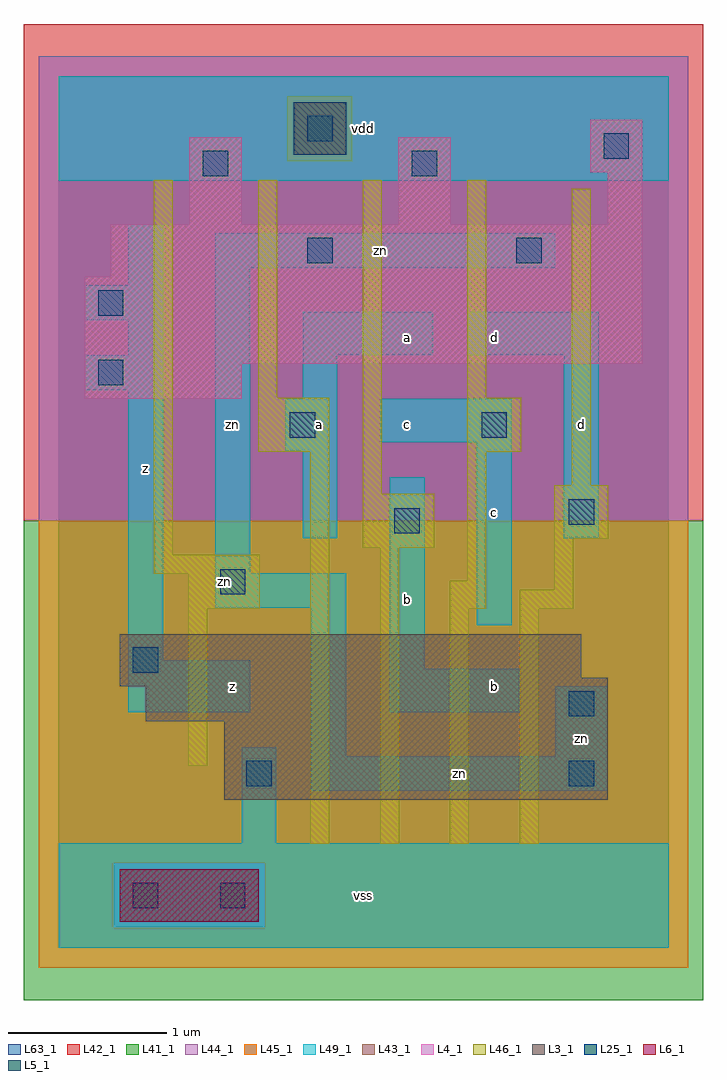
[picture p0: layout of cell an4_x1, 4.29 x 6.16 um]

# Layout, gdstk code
import gdstk
lib = gdstk.Library(unit=1e-6, precision=1e-09)
def R(c, l, rs):  # rectangles x0, y0, x1, y1
    for r in rs: c.add(gdstk.rectangle(r[:2], r[2:], *l))
L3_1 = (3, 1)
L4_1 = (4, 1)
L5_1 = (5, 1)
L6_1 = (6, 1)
L25_1 = (25, 1)
L41_1 = (41, 1)
L42_1 = (42, 1)
L43_1 = (43, 1)
L44_1 = (44, 1)
L45_1 = (45, 1)
L46_1 = (46, 1)
L49_1 = (49, 1)
L63_1 = (63, 1)

an4_x1 = lib.new_cell('an4_x1')
R(an4_x1, L3_1, [(1.045,0.935,3.465,1.43), (0.55,1.43,3.465,1.65), (0.385,1.65,3.465,1.705), (0.385,1.705,3.3,1.98)])
R(an4_x1, L4_1, [(0.165,3.465,1.155,3.685), (0.165,3.685,3.685,4.235), (0.33,4.235,3.685,4.565), (0.825,4.565,1.155,5.115), (2.145,4.565,2.475,5.115), (3.465,4.565,3.685,4.895), (3.355,4.895,3.685,5.225)])
R(an4_x1, L5_1, [(1.485,5.005,1.815,5.335)])
R(an4_x1, L6_1, [(0.385,0.165,1.265,0.495)])
R(an4_x1, L25_1, [(0.47,0.25,0.63,0.41), (1.02,0.25,1.18,0.41), (1.185,1.02,1.345,1.18), (3.22,1.02,3.38,1.18), (3.22,1.46,3.38,1.62), (0.47,1.735,0.63,1.895), (1.02,2.23,1.18,2.39), (2.12,2.615,2.28,2.775), (3.22,2.67,3.38,2.83), (1.46,3.22,1.62,3.38), (2.67,3.22,2.83,3.38), (0.25,3.55,0.41,3.71), (0.25,3.99,0.41,4.15), (1.57,4.32,1.73,4.48), (2.89,4.32,3.05,4.48), (0.91,4.87,1.07,5.03), (2.23,4.87,2.39,5.03), (3.44,4.98,3.6,5.14), (1.57,5.09,1.73,5.25)])
R(an4_x1, L41_1, [(-0.22,-0.33,4.07,2.695)])
R(an4_x1, L42_1, [(-0.22,2.695,4.07,5.83)])
R(an4_x1, L43_1, [(0.385,0.165,1.265,0.495), (1.045,0.935,3.465,1.43), (0.55,1.43,3.465,1.65), (0.385,1.65,3.465,1.705), (0.385,1.705,3.3,1.98), (0.165,3.465,1.155,3.685), (0.165,3.685,3.685,4.235), (0.33,4.235,3.685,4.565), (0.825,4.565,1.155,5.115), (2.145,4.565,2.475,5.115), (3.465,4.565,3.685,4.895), (3.355,4.895,3.685,5.225), (1.485,5.005,1.815,5.335)])
R(an4_x1, L44_1, [(0.345,0.125,1.305,0.535), (-0.125,2.695,3.975,4.965), (-0.125,4.965,1.445,5.375), (1.855,4.965,3.975,5.375), (-0.125,5.375,3.975,5.625)])
R(an4_x1, L45_1, [(-0.125,-0.125,3.975,0.125), (-0.125,0.125,0.345,0.535), (1.305,0.125,3.975,0.535), (-0.125,0.535,3.975,2.695), (1.445,4.965,1.855,5.375)])
R(an4_x1, L46_1, [(1.59,0.655,1.71,3.13), (2.03,0.655,2.15,2.525), (2.47,0.655,2.59,2.14), (2.91,0.655,3.03,2.14), (0.82,1.15,0.94,2.14), (0.82,2.14,1.27,2.36), (2.47,2.14,2.7,2.315), (2.91,2.14,3.25,2.26), (3.13,2.26,3.25,2.58), (2.58,2.315,2.7,3.13), (0.6,2.36,1.27,2.48), (0.6,2.48,0.72,4.845), (1.92,2.525,2.37,2.865), (3.13,2.58,3.47,2.92), (1.92,2.865,2.04,4.845), (3.24,2.92,3.36,4.79), (1.26,3.13,1.71,3.47), (2.58,3.13,2.92,3.47), (1.26,3.47,1.38,4.845), (2.58,3.47,2.7,4.845)])
R(an4_x1, L49_1, [(0,0,3.85,0.66), (1.155,0.66,1.375,1.265), (1.595,0.99,3.465,1.21), (1.595,1.21,1.815,2.145), (3.135,1.21,3.465,1.65), (0.44,1.485,1.21,1.815), (2.09,1.485,2.915,1.76), (2.09,1.76,2.31,2.97), (0.44,1.815,0.66,3.52), (2.64,2.035,2.86,3.19), (0.99,2.145,1.815,2.365), (0.99,2.365,1.21,4.29), (1.54,2.585,1.76,3.135), (3.19,2.585,3.41,3.74), (1.43,3.135,1.76,3.465), (2.035,3.19,2.86,3.465), (1.54,3.465,1.76,3.74), (0.165,3.52,0.66,3.74), (0.44,3.74,0.66,3.96), (1.54,3.74,2.365,4.015), (2.585,3.74,3.41,4.015), (0.165,3.96,0.66,4.18), (0.44,4.18,0.66,4.565), (0.99,4.29,3.135,4.51), (0,4.84,3.85,5.5)])
R(an4_x1, L63_1, [(0,0,3.85,5.5)])
an4_x1.add(gdstk.Label('zn', (1.045,2.31), layer=49, texttype=1))
an4_x1.add(gdstk.Label('z', (1.1,1.65), layer=49, texttype=1))
an4_x1.add(gdstk.Label('z', (1.1,1.65), layer=49, texttype=1))
an4_x1.add(gdstk.Label('z', (0.55,3.025), layer=49, texttype=1))
an4_x1.add(gdstk.Label('z', (0.55,3.025), layer=49, texttype=1))
an4_x1.add(gdstk.Label('zn', (1.1,3.3), layer=49, texttype=1))
an4_x1.add(gdstk.Label('vss', (1.925,0.33), layer=49, texttype=1))
an4_x1.add(gdstk.Label('vss', (1.925,0.33), layer=49, texttype=1))
an4_x1.add(gdstk.Label('a', (1.65,3.3), layer=49, texttype=1))
an4_x1.add(gdstk.Label('a', (1.65,3.3), layer=49, texttype=1))
an4_x1.add(gdstk.Label('vdd', (1.925,5.17), layer=49, texttype=1))
an4_x1.add(gdstk.Label('vdd', (1.925,5.17), layer=49, texttype=1))
an4_x1.add(gdstk.Label('b', (2.75,1.65), layer=49, texttype=1))
an4_x1.add(gdstk.Label('b', (2.75,1.65), layer=49, texttype=1))
an4_x1.add(gdstk.Label('b', (2.2,2.2), layer=49, texttype=1))
an4_x1.add(gdstk.Label('b', (2.2,2.2), layer=49, texttype=1))
an4_x1.add(gdstk.Label('c', (2.75,2.75), layer=49, texttype=1))
an4_x1.add(gdstk.Label('c', (2.75,2.75), layer=49, texttype=1))
an4_x1.add(gdstk.Label('c', (2.2,3.3), layer=49, texttype=1))
an4_x1.add(gdstk.Label('c', (2.2,3.3), layer=49, texttype=1))
an4_x1.add(gdstk.Label('a', (2.2,3.85), layer=49, texttype=1))
an4_x1.add(gdstk.Label('a', (2.2,3.85), layer=49, texttype=1))
an4_x1.add(gdstk.Label('d', (2.75,3.85), layer=49, texttype=1))
an4_x1.add(gdstk.Label('d', (2.75,3.85), layer=49, texttype=1))
an4_x1.add(gdstk.Label('zn', (3.3,1.32), layer=49, texttype=1))
an4_x1.add(gdstk.Label('zn', (2.53,1.1), layer=49, texttype=1))
an4_x1.add(gdstk.Label('d', (3.3,3.3), layer=49, texttype=1))
an4_x1.add(gdstk.Label('d', (3.3,3.3), layer=49, texttype=1))
an4_x1.add(gdstk.Label('zn', (2.035,4.4), layer=49, texttype=1))

lib.write_gds('an4_x1.gds')
